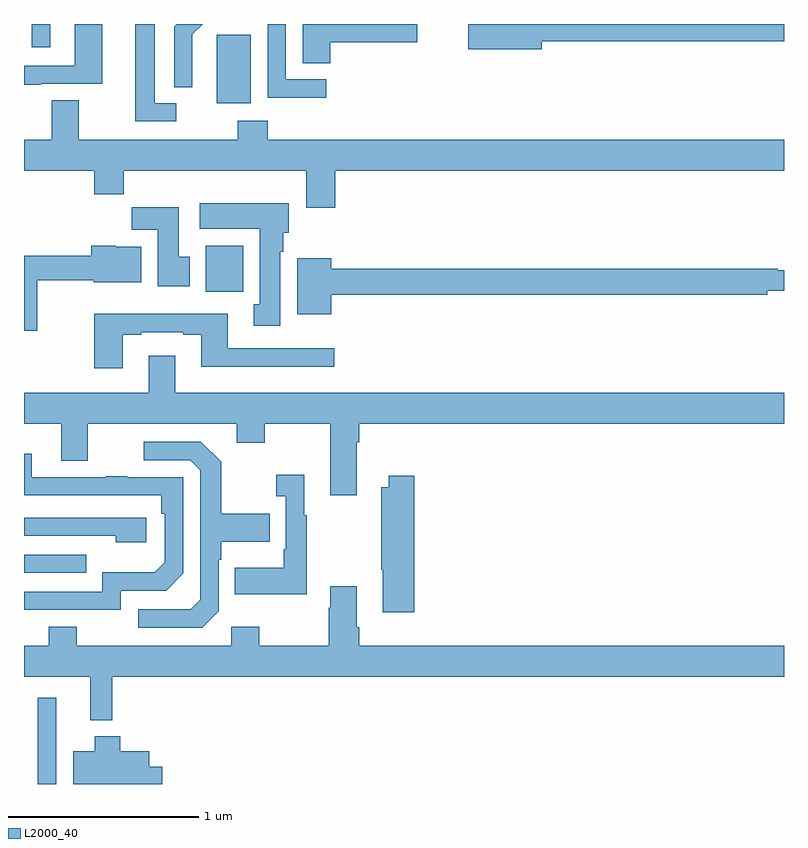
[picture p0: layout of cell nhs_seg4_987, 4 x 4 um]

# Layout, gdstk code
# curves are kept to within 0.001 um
import gdstk
lib = gdstk.Library(unit=1e-6, precision=1e-09)
def R(c, l, rs):  # rectangles x0, y0, x1, y1
    for r in rs: c.add(gdstk.rectangle(r[:2], r[2:], *l))
def P(c, l, *ps):  # polygons
    for p in ps: c.add(gdstk.Polygon(p, *l))
L2000_40 = (2000, 40)

nhs_seg4_987 = lib.new_cell('nhs_seg4_987')
R(nhs_seg4_987, L2000_40, [(161.072,818.9,161.169,819.355), (161,820.011,161.327,820.107), (161.957,821.492,162.154,821.734), (162.014,822.482,162.193,822.843), (161.04,822.777,161.137,822.9)])
P(nhs_seg4_987, L2000_40, [(162.592,822.609),(162.378,822.609),(162.378,822.9),(162.282,822.9),(162.282,822.511),(162.592,822.511)],
  [(161.886,822.722),(161.885,822.722),(161.885,822.845),(161.94,822.9),(161.804,822.9),(161.79,822.886),(161.79,822.568),(161.886,822.568)],
  [(161.8,822.483),(161.689,822.483),(161.689,822.9),(161.585,822.9),(161.585,822.387),(161.8,822.387)],
  [(163.726,822.808),(165,822.808),(165,822.9),(163.338,822.9),(163.338,822.766),(163.726,822.766)],
  [(162.611,822.803),(163.069,822.803),(163.069,822.9),(162.467,822.9),(162.467,822.694),(162.611,822.694)],
  [(161.089,822.585),(161.413,822.585),(161.413,822.9),(161.268,822.9),(161.268,822.681),(161,822.681),(161,822.581),(161.089,822.581)],
  [(162.284,822.391),(162.124,822.391),(162.124,822.292),(161.287,822.292),(161.287,822.5),(161.147,822.5),(161.147,822.292),(161,822.292),(161,822.128),(161.369,822.128),(161.369,822.004),(161.525,822.004),(161.525,822.128),(162.485,822.128),(162.485,821.934),(162.638,821.934),(162.638,822.128),(165,822.128),(165,822.292),(162.284,822.292)],
  [(162.349,821.702),(162.364,821.702),(162.364,821.802),(162.394,821.802),(162.394,821.956),(161.925,821.956),(161.925,821.822),(162.242,821.822),(162.242,821.426),(162.209,821.426),(162.209,821.313),(162.349,821.313)],
  [(161.872,821.676),(161.815,821.676),(161.815,821.935),(161.566,821.935),(161.566,821.816),(161.705,821.816),(161.705,821.52),(161.872,821.52)],
  [(161.07,821.551),(161.366,821.551),(161.366,821.54),(161.617,821.54),(161.617,821.728),(161.484,821.728),(161.484,821.734),(161.354,821.734),(161.354,821.68),(161,821.68),(161,821.286),(161.07,821.286)],
  [(162.616,821.476),(164.912,821.476),(164.912,821.495),(165,821.495),(165,821.605),(164.966,821.605),(164.966,821.612),(162.616,821.612),(162.616,821.668),(162.437,821.668),(162.437,821.372),(162.616,821.372)],
  [(161.521,821.265),(161.617,821.265),(161.617,821.277),(161.837,821.277),(161.837,821.265),(161.933,821.265),(161.933,821.096),(162.634,821.096),(162.634,821.193),(162.073,821.193),(162.073,821.374),(161.369,821.374),(161.369,821.088),(161.521,821.088)],
  [(162.751,820.7),(162.764,820.7),(162.764,820.796),(165,820.796),(165,820.96),(161.797,820.96),(161.797,821.155),(161.657,821.155),(161.657,820.96),(161,820.96),(161,820.796),(161.195,820.796),(161.195,820.602),(161.335,820.602),(161.335,820.796),(162.119,820.796),(162.119,820.697),(162.267,820.697),(162.267,820.796),(162.611,820.796),(162.611,820.419),(162.751,820.419)],
  [(162.024,819.81),(162.024,820.079),(162.037,820.079),(162.037,820.175),(162.293,820.175),(162.293,820.323),(162.037,820.323),(162.037,820.595),(161.931,820.701),(161.631,820.701),(161.631,820.605),(161.874,820.605),(161.928,820.551),(161.928,819.87),(161.877,819.819),(161.601,819.819),(161.601,819.723),(161.937,819.723)],
  [(161.508,819.918),(161.748,819.918),(161.838,820.008),(161.838,820.515),(161.543,820.515),(161.543,820.52),(161.431,820.52),(161.431,820.515),(161.041,820.515),(161.041,820.639),(161,820.639),(161,820.42),(161.722,820.419),(161.722,820.322),(161.742,820.322),(161.742,820.068),(161.689,820.015),(161.412,820.015),(161.412,819.912),(161,819.912),(161,819.816),(161.508,819.816)],
  [(162.487,820.315),(162.475,820.315),(162.475,820.528),(162.327,820.528),(162.327,820.415),(162.378,820.415),(162.378,820.135),(162.366,820.135),(162.366,820.039),(162.109,820.039),(162.109,819.899),(162.487,819.899)],
  [(163.055,820.522),(162.92,820.522),(162.92,820.462),(162.88,820.462),(162.88,820.027),(162.887,820.027),(162.887,819.804),(163.055,819.804)],
  [(161.644,820.302),(161,820.302),(161,820.206),(161.483,820.206),(161.483,820.172),(161.644,820.172)],
  [(161.465,819.464),(165,819.464),(165,819.628),(162.764,819.628),(162.764,819.724),(162.751,819.724),(162.751,819.94),(162.611,819.94),(162.611,819.827),(162.604,819.827),(162.604,819.628),(162.237,819.628),(162.237,819.727),(162.09,819.727),(162.09,819.628),(161.277,819.628),(161.277,819.727),(161.129,819.727),(161.129,819.628),(161,819.628),(161,819.464),(161.348,819.464),(161.348,819.236),(161.465,819.236)],
  [(161.728,818.991),(161.659,818.991),(161.659,819.073),(161.507,819.073),(161.507,819.151),(161.372,819.151),(161.372,819.073),(161.258,819.073),(161.258,818.9),(161.728,818.9)])

lib.write_gds('nhs_seg4_987.gds')
